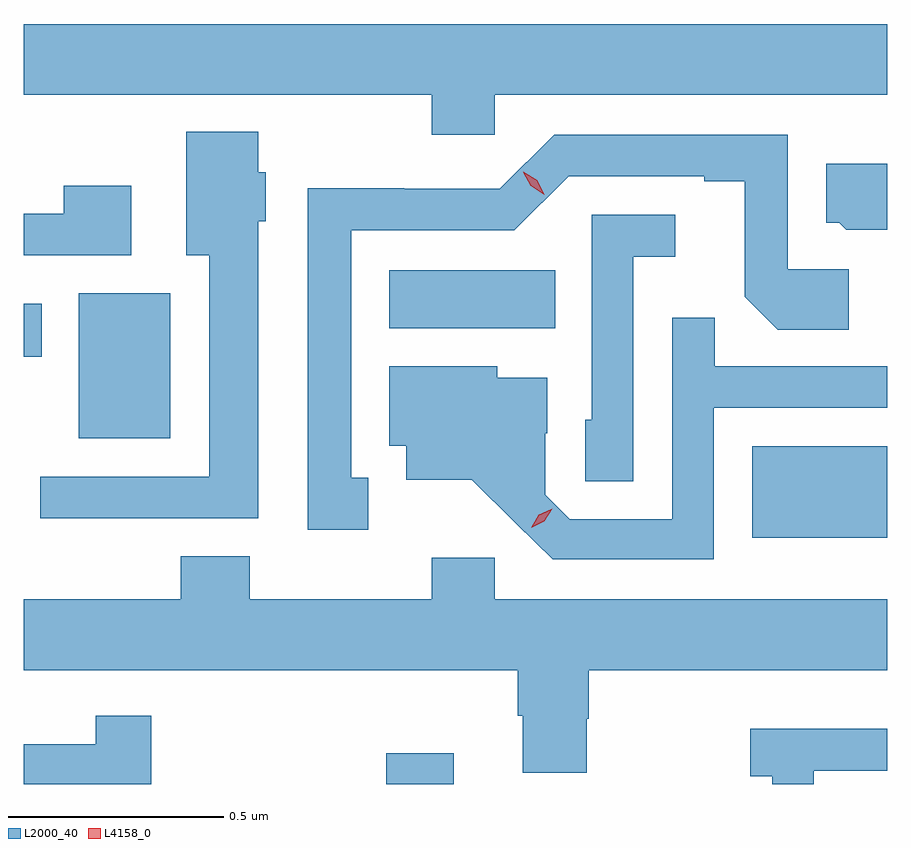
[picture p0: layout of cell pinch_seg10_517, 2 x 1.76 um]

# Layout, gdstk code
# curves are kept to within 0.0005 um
import gdstk
lib = gdstk.Library(unit=1e-6, precision=1e-09)
def R(c, l, rs):  # rectangles x0, y0, x1, y1
    for r in rs: c.add(gdstk.rectangle(r[:2], r[2:], *l))
def P(c, l, *ps):  # polygons
    for p in ps: c.add(gdstk.Polygon(p, *l))
L2000_40 = (2000, 40)
L4158_0 = (4158, 0)

pinch_seg10_517 = lib.new_cell('pinch_seg10_517')
R(pinch_seg10_517, L2000_40, [(270.565,1305.38,270.721,1305.451), (271.412,1305.95,271.725,1306.162), (269.852,1306.181,270.064,1306.516), (269.725,1306.37,269.767,1306.492), (270.572,1306.436,270.956,1306.57)])
P(pinch_seg10_517, L2000_40, [(270.816,1306.976),(271.725,1306.976),(271.725,1307.14),(269.725,1307.14),(269.725,1306.976),(270.67,1306.976),(270.67,1306.883),(270.816,1306.883)],
  [(270.268,1306.683),(270.286,1306.683),(270.286,1306.797),(270.268,1306.797),(270.268,1306.891),(270.101,1306.891),(270.101,1306.604),(270.155,1306.604),(270.155,1306.092),(269.763,1306.092),(269.763,1305.995),(270.268,1305.995)],
  [(270.523,1306.089),(270.484,1306.089),(270.484,1306.662),(270.861,1306.662),(270.987,1306.788),(271.301,1306.788),(271.301,1306.776),(271.395,1306.776),(271.395,1306.508),(271.471,1306.432),(271.636,1306.432),(271.636,1306.572),(271.494,1306.572),(271.494,1306.884),(270.954,1306.884),(270.828,1306.758),(270.606,1306.758),(270.606,1306.76),(270.383,1306.76),(270.383,1305.969),(270.523,1305.969)],
  [(271.725,1306.816),(271.583,1306.816),(271.583,1306.68),(271.614,1306.68),(271.63,1306.664),(271.725,1306.664)],
  [(269.974,1306.765),(269.818,1306.765),(269.818,1306.701),(269.725,1306.701),(269.725,1306.605),(269.974,1306.605)],
  [(271.137,1306.601),(271.234,1306.601),(271.234,1306.698),(271.041,1306.698),(271.041,1306.224),(271.026,1306.224),(271.026,1306.081),(271.137,1306.081)],
  [(271.323,1306.251),(271.725,1306.251),(271.725,1306.347),(271.325,1306.347),(271.325,1306.46),(271.227,1306.46),(271.227,1305.993),(270.99,1305.993),(270.933,1306.05),(270.933,1306.192),(270.937,1306.192),(270.937,1306.321),(270.822,1306.321),(270.822,1306.348),(270.572,1306.348),(270.572,1306.163),(270.611,1306.163),(270.611,1306.085),(270.763,1306.085),(270.95,1305.9),(271.323,1305.9)],
  [(271.029,1305.531),(271.034,1305.531),(271.034,1305.644),(271.725,1305.644),(271.725,1305.808),(270.816,1305.808),(270.816,1305.904),(270.67,1305.904),(270.67,1305.808),(270.249,1305.808),(270.249,1305.907),(270.089,1305.907),(270.089,1305.808),(269.725,1305.808),(269.725,1305.644),(270.869,1305.644),(270.869,1305.538),(270.881,1305.538),(270.881,1305.406),(271.029,1305.406)],
  [(270.02,1305.538),(269.892,1305.538),(269.892,1305.472),(269.725,1305.472),(269.725,1305.38),(270.02,1305.38)],
  [(271.555,1305.411),(271.725,1305.411),(271.725,1305.508),(271.407,1305.508),(271.407,1305.398),(271.458,1305.398),(271.458,1305.38),(271.555,1305.38)])
P(pinch_seg10_517, L4158_0, [(270.9,1305.973),(270.9,1305.974),(270.918,1306.003),(270.949,1306.018),(270.949,1306.018),(270.949,1306.017),(270.931,1305.988),(270.9,1305.973)],
  [(270.93,1306.745),(270.899,1306.765),(270.882,1306.797),(270.882,1306.798),(270.882,1306.798),(270.914,1306.778),(270.931,1306.746),(270.931,1306.745)])

lib.write_gds('pinch_seg10_517.gds')
